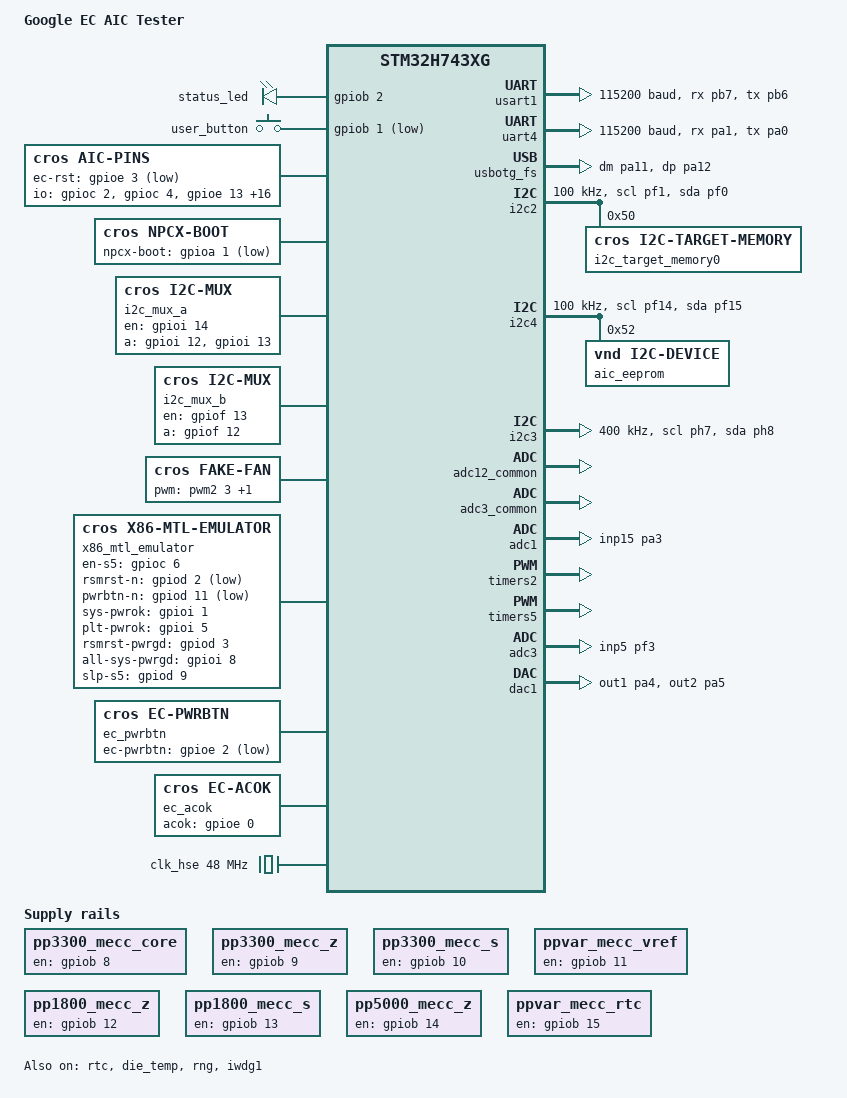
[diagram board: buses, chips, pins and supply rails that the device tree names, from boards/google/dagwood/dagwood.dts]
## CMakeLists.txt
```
# Copyright 2024 The ChromiumOS Authors
# Use of this source code is governed by a BSD-style license that can be
# found in the LICENSE file.

cmake_minimum_required(VERSION 3.20.0)

set(BOARD_ROOT ${CMAKE_CURRENT_LIST_DIR})
set(BOARD dagwood)

find_package(Zephyr REQUIRED HINTS $ENV{ZEPHYR_BASE} ${ZEPHYR_BASE})
project(dagwood)

if(NOT DEFINED PLATFORM_EC)
	if(DEFINED ENV{PLATFORM_EC})
		set(PLATFORM_EC "$ENV{PLATFORM_EC}")
	else()
		set(PLATFORM_EC "${CMAKE_CURRENT_SOURCE_DIR}/../../ec")
	endif()
endif()

separate_arguments(EXTRA_EC_VERSION_FLAGS_LIST UNIX_COMMAND
		   ${EXTRA_EC_VERSION_FLAGS})

# The version script takes the git revision of its working directory. Run it
# in this repository, so the version names the Dagwood commit, not the EC one.
execute_process(
	COMMAND ${CMAKE_COMMAND} -E env PYTHONPATH=${PLATFORM_EC}/zephyr/zmake/
		${PYTHON_EXECUTABLE}
		"${PLATFORM_EC}/zephyr/zmake/zephyr_build_tools/generate_ec_version.py"
		"-"
		"--name" "dagwood"
		${EXTRA_EC_VERSION_FLAGS_LIST}
	WORKING_DIRECTORY ${CMAKE_CURRENT_SOURCE_DIR}
	OUTPUT_VARIABLE DW_VERSION
	OUTPUT_STRIP_TRAILING_WHITESPACE
	ERROR_QUIET
)

if(NOT DW_VERSION)
	set(DW_VERSION "dagwood-unknown")
endif()

configure_file(
	${CMAKE_CURRENT_SOURCE_DIR}/src/version.h.in
	${ZEPHYR_BINARY_DIR}/include/generated/dagwood/version.h
	@ONLY
)

zephyr_include_directories(include)

target_sources(app PRIVATE
	src/ec.c
	src/main.c
	src/reboot.c
	src/uart_select.c
	src/usbd.c
	src/version.c
)

target_sources_ifdef(CONFIG_DT_HAS_CROS_NPCX_BOOT_ENABLED app PRIVATE src/npcx_boot.c)
target_sources_ifdef(CONFIG_DT_HAS_CROS_I2C_TARGET_MEMORY_ENABLED app PRIVATE src/i2c_target.c)
target_sources_ifdef(CONFIG_DT_HAS_CROS_I2C_MUX_ENABLED app PRIVATE src/i2c_mux.c)
target_sources_ifdef(CONFIG_DT_HAS_CROS_FAKE_FAN_ENABLED app PRIVATE src/fake_fan.c)

add_subdirectory(src/emul_ap_pwrseq)

zephyr_linker_sources(ROM_SECTIONS src/usb_request.ld)
```

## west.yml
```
# Copyright 2024 The ChromiumOS Authors
# Use of this source code is governed by a BSD-style license that can be
# found in the LICENSE file.

manifest:
  remotes:
    - name: chromium
      url-base: https://chromium.googlesource.com/chromiumos

  projects:
    - name: zephyr
      remote: chromium
      repo-path: third_party/zephyr
      revision: main
      west-commands: scripts/west-commands.yml

    - name: cmsis
      remote: chromium
      repo-path: third_party/zephyr/cmsis
      revision: chromeos-main
      path: modules/hal/cmsis

    - name: hal_stm32
      remote: chromium
      repo-path: third_party/zephyr/hal_stm32
      revision: chromeos-main
      path: modules/hal/stm32
```

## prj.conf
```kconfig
# Copyright 2024 The ChromiumOS Authors
# Use of this source code is governed by a BSD-style license that can be
# found in the LICENSE file.

CONFIG_PM_DEVICE=y
CONFIG_PM_DEVICE_RUNTIME=y
CONFIG_PM_DEVICE_SHELL=y

# TODO(b/395151088): picolibc build causes a macro redefinition on some source
# files between include/zephyr/posix/posix_features.h and
# picolibc/coreboot-arm-eabi/include/sys/syslimits.h when using the chroot
# coreboot toolchain, use minimal libc until that's resolved.
CONFIG_MINIMAL_LIBC=y

CONFIG_GPIO=y
CONFIG_LOG=y
CONFIG_LOG_PROCESS_THREAD_SLEEP_MS=100
CONFIG_DEBUG_THREAD_INFO=y
CONFIG_COMPILER_TRACK_MACRO_EXPANSION=n
CONFIG_APPLICATION_DEFINED_SYSCALL=y

# USB
CONFIG_USB_DEVICE_STACK=n
CONFIG_USB_DEVICE_STACK_NEXT=y
CONFIG_USBD_CDC_ACM_CLASS=y
CONFIG_UART_LINE_CTRL=y
CONFIG_UDC_DRIVER_LOG_LEVEL_WRN=y
CONFIG_USBD_CDC_ACM_LOG_LEVEL_OFF=y
CONFIG_USBD_LOG_LEVEL_WRN=y

# I2C
CONFIG_I2C_TARGET=y

# Subsystems
CONFIG_SHELL=y
CONFIG_I2C=y
CONFIG_LED=y
CONFIG_PWM=y
CONFIG_PWM_CAPTURE=y
CONFIG_INPUT=y
CONFIG_REGULATOR=y
CONFIG_DAC=y
CONFIG_REBOOT=y

# Shell commands
CONFIG_GPIO_SHELL=y
CONFIG_I2C_SHELL=y
CONFIG_LED_SHELL=y
CONFIG_PWM_SHELL=y
CONFIG_REGULATOR_SHELL=y
CONFIG_DAC_SHELL=y
CONFIG_INPUT_SHELL=y
CONFIG_INPUT_EVENT_DUMP=y

CONFIG_SHELL_PROMPT_UART="dagwood:~$ "
```

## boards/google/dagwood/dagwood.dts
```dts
/* Copyright 2024 The ChromiumOS Authors
 * Use of this source code is governed by a BSD-style license that can be
 * found in the LICENSE file.
 */

/dts-v1/;
#include <st/h7/stm32h743Xg.dtsi>
#include <st/h7/stm32h743bgtx-pinctrl.dtsi>
#include <zephyr/dt-bindings/input/input-event-codes.h>

/ {
	model = "Google EC AIC Tester";
	compatible = "google,dagwood";

	chosen {
		/* change to &usart1 to move the shell to J3/J4 */
		zephyr,console = &cdc_acm_uart_shell;
		zephyr,shell-uart = &cdc_acm_uart_shell;
		zephyr,sram = &sram0;
		zephyr,flash = &flash0;
		zephyr,dtcm = &dtcm;
	};

	leds {
		compatible = "gpio-leds";
		status_led: mcu_pb02 {
			gpios = <&gpiob 2 GPIO_ACTIVE_HIGH>;
		};
	};

	gpio_keys: gpio-keys {
		compatible = "gpio-keys";
		debounce-interval-ms = <3>;

		user_button: mcu_pb01 {
			gpios = <&gpiob 1 GPIO_ACTIVE_LOW>;
			zephyr,code = <INPUT_KEY_0>;
		};
	};

	aliases {
		led0 = &status_led;
		sw0 = &user_button;
		watchdog0 = &iwdg;
		die-temp0 = &die_temp;
	};

	uart_bridge: uart-bridge {
		compatible = "zephyr,uart-bridge";
		zephyr,pm-device-runtime-auto;
		peers = <&cdc_acm_uart_ec &uart4>;
	};

	uart_bridge_alt: uart-bridge-alt {
		compatible = "zephyr,uart-bridge";
		zephyr,pm-device-runtime-auto;
		peers = <&cdc_acm_uart_ec_alt &uart4>;
	};

	pp3300_mecc_core: pp3300_mecc_core {
		compatible = "regulator-fixed";
		regulator-name = "pp3300_mecc_core";
		enable-gpios = <&gpiob 8 GPIO_ACTIVE_HIGH>;
	};

	pp3300_mecc_z: pp3300_mecc_z {
		compatible = "regulator-fixed";
		regulator-name = "pp3300_mecc_z";
		enable-gpios = <&gpiob 9 GPIO_ACTIVE_HIGH>;
	};

	pp3300_mecc_s: pp3300_mecc_s {
		compatible = "regulator-fixed";
		regulator-name = "pp3300_mecc_s";
		enable-gpios = <&gpiob 10 GPIO_ACTIVE_HIGH>;
	};

	ppvar_mecc_vref: ppvar_mecc_vref {
		compatible = "regulator-fixed";
		regulator-name = "ppvar_mecc_vref";
		enable-gpios = <&gpiob 11 GPIO_ACTIVE_HIGH>;
	};

	pp1800_mecc_z: pp1800_mecc_z {
		compatible = "regulator-fixed";
		regulator-name = "pp1800_mecc_z";
		enable-gpios = <&gpiob 12 GPIO_ACTIVE_HIGH>;
	};

	pp1800_mecc_s: pp1800_mecc_s {
		compatible = "regulator-fixed";
		regulator-name = "pp1800_mecc_s";
		enable-gpios = <&gpiob 13 GPIO_ACTIVE_HIGH>;
	};

	pp5000_mecc_z: pp5000_mecc_z {
		compatible = "regulator-fixed";
		regulator-name = "pp5000_mecc_z";
		enable-gpios = <&gpiob 14 GPIO_ACTIVE_HIGH>;
	};

	ppvar_mecc_rtc: ppvar_mecc_rtc {
		compatible = "regulator-fixed";
		regulator-name = "ppvar_mecc_rtc";
		enable-gpios = <&gpiob 15 GPIO_ACTIVE_HIGH>;
	};

	aic-pins {
		compatible = "cros,aic-pins";
		ec-rst-gpios = <&gpioe 3 GPIO_ACTIVE_LOW>;
		io-gpios = <&gpioc 2 GPIO_ACTIVE_HIGH>, /* CCD_MODE_L */
			   <&gpioc 4 GPIO_ACTIVE_HIGH>, /* EN_PP5000_FAN */
			   <&gpioe 13 GPIO_ACTIVE_HIGH>, /* I2C_MECC_PDC4_INT_L */

			   /* TODO: figure out why some signals are not getting
			    * through on the NPCX AIC board
			    */

			   /* KSI */
			   /* <&gpiok 0 GPIO_ACTIVE_HIGH>, */ /* MCU_OUT_KBD_SCANIN_A_ODL */
			   <&gpiok 1 GPIO_ACTIVE_HIGH>, /* MCU_OUT_KBD_SCANIN_B_ODL */
			   <&gpiok 2 GPIO_ACTIVE_HIGH>, /* MCU_OUT_KBD_SCANIN_C_ODL */
			   /* <&gpiok 3 GPIO_ACTIVE_HIGH>, */ /* MCU_OUT_KBD_SCANIN_D_ODL */
			   <&gpiok 4 GPIO_ACTIVE_HIGH>, /* MCU_OUT_KBD_SCANIN_E_ODL */
			   <&gpiok 5 GPIO_ACTIVE_HIGH>, /* MCU_OUT_KBD_SCANIN_F_ODL */
			   <&gpiok 6 GPIO_ACTIVE_HIGH>, /* MCU_OUT_KBD_SCANIN_G_ODL */
			   <&gpiok 7 GPIO_ACTIVE_HIGH>, /* MCU_OUT_KBD_SCANIN_H_ODL */

			   /* KSO */
			   /* <&gpioj 0 GPIO_ACTIVE_HIGH>, */ /* MCU_IN_KBD_SCANOUT_A */
			   /* <&gpioj 1 GPIO_ACTIVE_HIGH>, */ /* MCU_IN_KBD_SCANOUT_B */
			   <&gpioj 2 GPIO_ACTIVE_HIGH>, /* MCU_IN_KBD_SCANOUT_C */
			   <&gpioj 3 GPIO_ACTIVE_HIGH>, /* MCU_IN_KBD_SCANOUT_D */
			   <&gpioj 4 GPIO_ACTIVE_HIGH>, /* MCU_IN_KBD_SCANOUT_E */
			   <&gpioj 5 GPIO_ACTIVE_HIGH>, /* MCU_IN_KBD_SCANOUT_F */
			   /* <&gpioj 6 GPIO_ACTIVE_HIGH>, */ /* MCU_IN_KBD_SCANOUT_G */
			   /* <&gpioj 7 GPIO_ACTIVE_HIGH>, */ /* MCU_IN_KBD_SCANOUT_H */
			   /* <&gpioj 8 GPIO_ACTIVE_HIGH>, */ /* MCU_IN_KBD_SCANOUT_J */
			   /* <&gpioj 9 GPIO_ACTIVE_HIGH>, */ /* MCU_IN_KBD_SCANOUT_K */
			   <&gpioj 10 GPIO_ACTIVE_HIGH>, /* MCU_IN_KBD_SCANOUT_L */
			   <&gpioj 11 GPIO_ACTIVE_HIGH>, /* MCU_IN_KBD_SCANOUT_M */
			   <&gpioj 12 GPIO_ACTIVE_HIGH>, /* MCU_IN_KBD_SCANOUT_N */
			   <&gpioj 13 GPIO_ACTIVE_HIGH>, /* MCU_IN_KBD_SCANOUT_P */
			   <&gpioj 14 GPIO_ACTIVE_HIGH>, /* MCU_IN_KBD_SCANOUT_Q */
			   <&gpioj 15 GPIO_ACTIVE_HIGH>; /* MCU_IN_KBD_SCANOUT_R */
			   /* <&gpioh 3 GPIO_ACTIVE_HIGH>, */ /* MCU_IN_KBD_SCANOUT_S */
			   /* <&gpioj 4 GPIO_ACTIVE_HIGH>; */ /* MCU_IN_KBD_SCANOUT_T */
	};

	npcx-boot {
		compatible = "cros,npcx-boot";
		npcx-boot-gpios = <&gpioa 1 GPIO_ACTIVE_LOW>;
		pinctrl-0 = <&pa1_gpio>;
		pinctrl-1 = <&uart4_rx_pa1>;
		pinctrl-names = "gpio", "default";
	};

	i2c_mux_a: i2c-mux-a {
		compatible = "cros,i2c-mux";
		en-gpios = <&gpioi 14 GPIO_ACTIVE_HIGH>;
		a-gpios = <&gpioi 12 GPIO_ACTIVE_HIGH>,
			  <&gpioi 13 GPIO_ACTIVE_HIGH>;
		port-count = <4>;
	};

	i2c_mux_b: i2c-mux-b {
		compatible = "cros,i2c-mux";
		en-gpios = <&gpiof 13 GPIO_ACTIVE_HIGH>;
		a-gpios = <&gpiof 12 GPIO_ACTIVE_HIGH>;
		port-count = <2>;
	};

	fake-fan {
		compatible = "cros,fake-fan";
		pwms = <&pwm2 3 0 PWM_POLARITY_NORMAL>, /* input, pwm control from aic */
		       <&pwm5 4 0 PWM_POLARITY_NORMAL>; /* output, fake tach signal to the aic */
	};

	x86_mtl_emulator: x86-mtl-emulator {
		compatible = "cros,x86-mtl-emulator";
		/* MECC Pin 55 (MECC_EN_S5_RAILS) -> PC06 */
		en-s5-gpios = <&gpioc 6 GPIO_ACTIVE_HIGH>;
		rsmrst-n-gpios = <&gpiod 2 GPIO_ACTIVE_LOW>;
		pwrbtn-n-gpios = <&gpiod 11 GPIO_ACTIVE_LOW>;
		sys-pwrok-gpios = <&gpioi 1 GPIO_ACTIVE_HIGH>;
		/*
		 * TODO(b/580052406): Canonical MECC Pin 30 (MECC_PLT_PWROK, PI00)
		 * is stuck high on rtk-aic + Dagwood hardware. Route PLT_PWROK
		 * via MECC Pin 145 (MECC_EC_PP5000_USBA, PI05) until resolved.
		 */
		plt-pwrok-gpios = <&gpioi 5 GPIO_ACTIVE_HIGH>;

		rsmrst-pwrgd-gpios = <&gpiod 3 GPIO_ACTIVE_HIGH>;
		all-sys-pwrgd-gpios = <&gpioi 8 GPIO_ACTIVE_HIGH>;
		slp-s5-gpios = <&gpiod 9 GPIO_ACTIVE_HIGH>;
		slp-s4-gpios = <&gpiod 8 GPIO_ACTIVE_HIGH>;
		slp-s3-gpios = <&gpiod 7 GPIO_ACTIVE_HIGH>;
		slp-s0-gpios = <&gpiod 6 GPIO_ACTIVE_HIGH>;
	};

	ec_pwrbtn: ec-pwrbtn {
		compatible = "cros,ec-pwrbtn";
		ec-pwrbtn-gpios = <&gpioe 2 GPIO_ACTIVE_LOW>;
	};

	ec_acok: ec-acok {
		compatible = "cros,ec-acok";
		acok-gpios = <&gpioe 0 GPIO_ACTIVE_HIGH>;
	};
};

&pinctrl {
	pa1_gpio: pa1_gpio {
		pinmux = <STM32_PINMUX('A', 1, GPIO)>;
	};
};

&clk_lsi {
	status = "okay";
};

&clk_hsi48 {
	status = "okay";
};

&clk_hse {
	clock-frequency = <DT_FREQ_M(48)>;
	status = "okay";
};

&pll {
	div-m = <12>;
	mul-n = <240>;
	div-p = <2>;
	div-q = <2>;
	div-r = <2>;
	clocks = <&clk_hse>;
	status = "okay";
};

&pll2 {
	div-m = <24>;
	mul-n = <120>;
	div-p = <2>;
	div-q = <3>;
	div-r = <2>;
	clocks = <&clk_hse>;
	status = "okay";
};

&rcc {
	clocks = <&pll>;
	clock-frequency = <DT_FREQ_M(480)>;
	d1cpre = <1>;
	hpre = <2>;
	d1ppre = <2>;
	d2ppre1 = <2>;
	d2ppre2 = <2>;
	d3ppre = <2>;
};

&pwr {
	power-supply = "ldo";
};

/* Debug UART, J3/J4 */
&usart1 {
	pinctrl-0 = <&usart1_rx_pb7 &usart1_tx_pb6>;
	pinctrl-names = "default";
	current-speed = <115200>;
	status = "okay";
};

/* EC UART */
&uart4 {
	pinctrl-0 = <&uart4_rx_pa1 &uart4_tx_pa0>;
	pinctrl-names = "default";
	current-speed = <115200>;
	status = "okay";
};

zephyr_udc0: &usbotg_fs {
	pinctrl-0 = <&usb_otg_fs_dm_pa11 &usb_otg_fs_dp_pa12>;
	pinctrl-names = "default";
	status = "okay";

	cdc_acm_uart_shell: cdc_acm_uart_shell {
		compatible = "zephyr,cdc-acm-uart";
		label = "Dagwood shell";
	};
	cdc_acm_uart_ec: cdc_acm_uart_ec {
		compatible = "zephyr,cdc-acm-uart";
		label = "EC shell";
	};
	cdc_acm_uart_ec_alt: cdc_acm_uart_ec_alt {
		compatible = "zephyr,cdc-acm-uart";
		label = "EC UART programming";
	};
};

&rtc {
	clocks = <&rcc STM32_CLOCK_BUS_APB4 0x00010000>,
		 <&rcc STM32_SRC_LSI RTC_SEL(2)>;
	status = "okay";
};

/* target interface, connected to the U9 mux */
&i2c2 {
	pinctrl-0 = <&i2c2_scl_pf1 &i2c2_sda_pf0>;
	pinctrl-1 = <&analog_pf1 &analog_pf0>;
	pinctrl-names = "default", "sleep";
	status = "okay";
	clock-frequency = <I2C_BITRATE_STANDARD>;
	label = "i2c2";

	/* Lower the interrupt priority of I2C so that the UART bridge
	 * can preempt the I2C target mode handling.
	 */
	interrupts = <33 5>, <34 5>;

	i2c_target_memory0: i2c-target-memory@50 {
		reg = <0x50>;
		size = <256>;
		compatible = "cros,i2c-target-memory";
		status = "okay";
	};
};

/* target interface, connected to the U11 mux */
&i2c4 {
	pinctrl-0 = <&i2c4_scl_pf14 &i2c4_sda_pf15>;
	pinctrl-1 = <&analog_pf14 &analog_pf15>;
	pinctrl-names = "default", "sleep";
	status = "okay";
	clock-frequency = <I2C_BITRATE_STANDARD>;
	label = "i2c4";

	aic_eeprom: eeprom@52 {
		reg = <0x52>;
		compatible = "vnd,i2c-device";
		status = "okay";
	};
};

/* connected to J5, QWIIC port */
zephyr_i2c: &i2c3 {
	pinctrl-0 = <&i2c3_scl_ph7 &i2c3_sda_ph8>;
	pinctrl-1 = <&analog_ph7 &analog_ph8>;
	pinctrl-names = "default", "sleep";
	status = "okay";
	clock-frequency = <I2C_BITRATE_FAST>;
	label = "i2c3";
};

&adc12_common {
	st,adc-clock-source = "SYNC";
	st,adc-prescaler = <4>;
	status = "okay";
};

&adc3_common {
	st,adc-clock-source = "SYNC";
	st,adc-prescaler = <4>;
	status = "okay";
};

&adc1 {
	pinctrl-0 = <&adc1_inp15_pa3>;
	pinctrl-names = "default";
	status = "okay";
};

&die_temp {
	status = "okay";
};

&timers2 {
	st,prescaler = <1>;
	status = "okay";

	pwm2: pwm {
		status = "okay";
		pinctrl-0 = <&tim2_ch3_pa2>;
		pinctrl-names = "default";
		four-channel-capture-support;
	};
};

&timers5 {
	st,prescaler = <150>;
	status = "okay";

	pwm5: pwm {
		status = "okay";
		pinctrl-0 = <&tim5_ch4_pa3>;
		pinctrl-names = "default";
	};
};

&adc3 {
	pinctrl-0 = <&adc3_inp5_pf3>;
	pinctrl-names = "default";
	status = "okay";
};

&dac1 {
	status = "okay";
	pinctrl-0 = <&dac1_out1_pa4 &dac1_out2_pa5>;
	pinctrl-names = "default";
};

&rng {
	status = "okay";
};

&backup_sram {
	status = "okay";
};

&iwdg1 {
	status = "okay";
};
```

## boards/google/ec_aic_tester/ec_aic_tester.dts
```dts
/* Copyright 2024 The ChromiumOS Authors
 * Use of this source code is governed by a BSD-style license that can be
 * found in the LICENSE file.
 */

/dts-v1/;
#include <st/h7/stm32h743Xg.dtsi>
#include <st/h7/stm32h743bgtx-pinctrl.dtsi>
#include <zephyr/dt-bindings/input/input-event-codes.h>

/ {
	model = "Google EC AIC Tester";
	compatible = "google,ec-aic-tester";

	chosen {
		/* change to &usart1 to move the shell to J3/J4 */
		zephyr,console = &cdc_acm_uart_shell;
		zephyr,shell-uart = &cdc_acm_uart_shell;
		zephyr,sram = &sram0;
		zephyr,flash = &flash0;
		zephyr,dtcm = &dtcm;
	};

	leds {
		compatible = "gpio-leds";
		status_led: mcu_pb02 {
			gpios = <&gpiob 2 GPIO_ACTIVE_HIGH>;
		};
	};

	gpio_keys: gpio-keys {
		compatible = "gpio-keys";
		user_button: mcu_pb01 {
			gpios = <&gpiob 1 GPIO_ACTIVE_LOW>;
			zephyr,code = <INPUT_KEY_0>;
		};
	};

	aliases {
		led0 = &status_led;
		sw0 = &user_button;
		watchdog0 = &iwdg;
		die-temp0 = &die_temp;
	};

	uart_bridge: uart-bridge {
		compatible = "zephyr,uart-bridge";
		usb {
			device = <&cdc_acm_uart_ec>;
			transfer-size = <64>;
		};
		uart {
			device = <&uart4>;
			transfer-size = <1>;
		};
	};

	pp3300_mecc_core: pp3300_mecc_core {
		compatible = "regulator-fixed";
		regulator-name = "pp3300_mecc_core";
		enable-gpios = <&gpiob 8 GPIO_ACTIVE_HIGH>;
	};

	pp3300_mecc_z: pp3300_mecc_z {
		compatible = "regulator-fixed";
		regulator-name = "pp3300_mecc_z";
		enable-gpios = <&gpiob 9 GPIO_ACTIVE_HIGH>;
	};

	pp3300_mecc_s: pp3300_mecc_s {
		compatible = "regulator-fixed";
		regulator-name = "pp3300_mecc_s";
		enable-gpios = <&gpiob 10 GPIO_ACTIVE_HIGH>;
	};

	ppvar_mecc_vref: ppvar_mecc_vref {
		compatible = "regulator-fixed";
		regulator-name = "ppvar_mecc_vref";
		enable-gpios = <&gpiob 11 GPIO_ACTIVE_HIGH>;
	};

	pp1800_mecc_z: pp1800_mecc_z {
		compatible = "regulator-fixed";
		regulator-name = "pp1800_mecc_z";
		enable-gpios = <&gpiob 12 GPIO_ACTIVE_HIGH>;
	};

	pp1800_mecc_s: pp1800_mecc_s {
		compatible = "regulator-fixed";
		regulator-name = "pp1800_mecc_s";
		enable-gpios = <&gpiob 13 GPIO_ACTIVE_HIGH>;
	};

	pp5000_mecc_z: pp5000_mecc_z {
		compatible = "regulator-fixed";
		regulator-name = "pp5000_mecc_z";
		enable-gpios = <&gpiob 14 GPIO_ACTIVE_HIGH>;
	};

	ppvar_mecc_rtc: ppvar_mecc_rtc {
		compatible = "regulator-fixed";
		regulator-name = "ppvar_mecc_rtc";
		enable-gpios = <&gpiob 15 GPIO_ACTIVE_HIGH>;
	};

	aic-pins {
		compatible = "cros,aic-pins";
		ec-rst-gpios = <&gpioe 3 GPIO_ACTIVE_LOW>;
		io-gpios = <&gpioc 2 GPIO_ACTIVE_HIGH>, /* CCD_MODE_L */
			   <&gpioc 4 GPIO_ACTIVE_HIGH>, /* EN_PP5000_FAN */
			   <&gpioe 13 GPIO_ACTIVE_HIGH>, /* I2C_MECC_PDC4_INT_L */

			   /* TODO: figure out why some signals are not getting
			    * through on the NPCX AIC board
			    */

			   /* KSI */
			   /* <&gpiok 0 GPIO_ACTIVE_HIGH>, */ /* MCU_OUT_KBD_SCANIN_A_ODL */
			   <&gpiok 1 GPIO_ACTIVE_HIGH>, /* MCU_OUT_KBD_SCANIN_B_ODL */
			   <&gpiok 2 GPIO_ACTIVE_HIGH>, /* MCU_OUT_KBD_SCANIN_C_ODL */
			   /* <&gpiok 3 GPIO_ACTIVE_HIGH>, */ /* MCU_OUT_KBD_SCANIN_D_ODL */
			   <&gpiok 4 GPIO_ACTIVE_HIGH>, /* MCU_OUT_KBD_SCANIN_E_ODL */
			   <&gpiok 5 GPIO_ACTIVE_HIGH>, /* MCU_OUT_KBD_SCANIN_F_ODL */
			   <&gpiok 6 GPIO_ACTIVE_HIGH>, /* MCU_OUT_KBD_SCANIN_G_ODL */
			   <&gpiok 7 GPIO_ACTIVE_HIGH>, /* MCU_OUT_KBD_SCANIN_H_ODL */

			   /* KSO */
			   /* <&gpioj 0 GPIO_ACTIVE_HIGH>, */ /* MCU_IN_KBD_SCANOUT_A */
			   /* <&gpioj 1 GPIO_ACTIVE_HIGH>, */ /* MCU_IN_KBD_SCANOUT_B */
			   <&gpioj 2 GPIO_ACTIVE_HIGH>, /* MCU_IN_KBD_SCANOUT_C */
			   <&gpioj 3 GPIO_ACTIVE_HIGH>, /* MCU_IN_KBD_SCANOUT_D */
			   <&gpioj 4 GPIO_ACTIVE_HIGH>, /* MCU_IN_KBD_SCANOUT_E */
			   <&gpioj 5 GPIO_ACTIVE_HIGH>, /* MCU_IN_KBD_SCANOUT_F */
			   /* <&gpioj 6 GPIO_ACTIVE_HIGH>, */ /* MCU_IN_KBD_SCANOUT_G */
			   /* <&gpioj 7 GPIO_ACTIVE_HIGH>, */ /* MCU_IN_KBD_SCANOUT_H */
			   /* <&gpioj 8 GPIO_ACTIVE_HIGH>, */ /* MCU_IN_KBD_SCANOUT_J */
			   /* <&gpioj 9 GPIO_ACTIVE_HIGH>, */ /* MCU_IN_KBD_SCANOUT_K */
			   <&gpioj 10 GPIO_ACTIVE_HIGH>, /* MCU_IN_KBD_SCANOUT_L */
			   <&gpioj 11 GPIO_ACTIVE_HIGH>, /* MCU_IN_KBD_SCANOUT_M */
			   <&gpioj 12 GPIO_ACTIVE_HIGH>, /* MCU_IN_KBD_SCANOUT_N */
			   <&gpioj 13 GPIO_ACTIVE_HIGH>, /* MCU_IN_KBD_SCANOUT_P */
			   <&gpioj 14 GPIO_ACTIVE_HIGH>, /* MCU_IN_KBD_SCANOUT_Q */
			   <&gpioj 15 GPIO_ACTIVE_HIGH>; /* MCU_IN_KBD_SCANOUT_R */
			   /* <&gpioh 3 GPIO_ACTIVE_HIGH>, */ /* MCU_IN_KBD_SCANOUT_S */
			   /* <&gpioj 4 GPIO_ACTIVE_HIGH>; */ /* MCU_IN_KBD_SCANOUT_T */
	};

	npcx-boot {
		compatible = "cros,npcx-boot";
		npcx-boot-gpios = <&gpioa 1 GPIO_ACTIVE_LOW>;
		pinctrl-0 = <&pa1_gpio>;
		pinctrl-1 = <&uart4_rx_pa1>;
		pinctrl-names = "gpio", "default";
	};

	i2c-mux-a {
		compatible = "cros,i2c-mux";
		en-gpios = <&gpioi 14 GPIO_ACTIVE_HIGH>;
		a-gpios = <&gpioi 12 GPIO_ACTIVE_HIGH>,
			  <&gpioi 13 GPIO_ACTIVE_HIGH>;
		port-count = <4>;
	};

	i2c-mux-b {
		compatible = "cros,i2c-mux";
		en-gpios = <&gpiof 13 GPIO_ACTIVE_HIGH>;
		a-gpios = <&gpiof 12 GPIO_ACTIVE_HIGH>;
		port-count = <2>;
	};
};

&pinctrl {
	pa1_gpio: pa1_gpio {
		pinmux = <STM32_PINMUX('A', 1, GPIO)>;
	};
};

&clk_lsi {
	status = "okay";
};

&clk_hsi48 {
	status = "okay";
};

&clk_hse {
	clock-frequency = <DT_FREQ_M(48)>;
	status = "okay";
};

&pll {
	div-m = <12>;
	mul-n = <240>;
	div-p = <2>;
	div-q = <2>;
	div-r = <2>;
	clocks = <&clk_hse>;
	status = "okay";
};

&pll2 {
	div-m = <24>;
	mul-n = <120>;
	div-p = <2>;
	div-q = <3>;
	div-r = <2>;
	clocks = <&clk_hse>;
	status = "okay";
};

&rcc {
	clocks = <&pll>;
	clock-frequency = <DT_FREQ_M(480)>;
	d1cpre = <1>;
	hpre = <2>;
	d1ppre = <2>;
	d2ppre1 = <2>;
	d2ppre2 = <2>;
	d3ppre = <2>;
};

/* Debug UART, J3/J4 */
&usart1 {
	pinctrl-0 = <&usart1_rx_pb7 &usart1_tx_pb6>;
	pinctrl-names = "default";
	current-speed = <115200>;
	status = "okay";
};

/* EC UART */
&uart4 {
	pinctrl-0 = <&uart4_rx_pa1 &uart4_tx_pa0>;
	pinctrl-names = "default";
	current-speed = <115200>;
	status = "okay";
};

zephyr_udc0: &usbotg_fs {
	pinctrl-0 = <&usb_otg_fs_dm_pa11 &usb_otg_fs_dp_pa12>;
	pinctrl-names = "default";
	status = "okay";

	cdc_acm_uart_shell: cdc_acm_uart_shell {
		compatible = "zephyr,cdc-acm-uart";
	};
	cdc_acm_uart_ec: cdc_acm_uart_ec {
		compatible = "zephyr,cdc-acm-uart";
	};
};

&rtc {
	clocks = <&rcc STM32_CLOCK_BUS_APB4 0x00010000>,
		 <&rcc STM32_SRC_LSI RTC_SEL(2)>;
	status = "okay";
};

/* target interface, connected to the U9 mux */
&i2c2 {
	pinctrl-0 = <&i2c2_scl_pf1 &i2c2_sda_pf0>;
	pinctrl-names = "default";
	status = "okay";
	clock-frequency = <I2C_BITRATE_STANDARD>;

	eeprom0: eeprom@50 {
		reg = <0x50>;
		size = <256>;
		compatible = "zephyr,i2c-target-eeprom";
		status = "okay";
	};
};

/* target interface, connected to the U11 mux */
&i2c4 {
	pinctrl-0 = <&i2c4_scl_pf14 &i2c4_sda_pf15>;
	pinctrl-names = "default";
	status = "okay";
	clock-frequency = <I2C_BITRATE_STANDARD>;

	eeprom1: eeprom@51 {
		reg = <0x51>;
		size = <256>;
		compatible = "zephyr,i2c-target-eeprom";
		status = "okay";
	};
};

/* connected to J5, QWIIC port */
&i2c3 {
	pinctrl-0 = <&i2c3_scl_ph7 &i2c3_sda_ph8>;
	pinctrl-names = "default";
	status = "okay";
	clock-frequency = <I2C_BITRATE_FAST>;
};

&adc1 {
	pinctrl-0 = <&adc1_inp15_pa3>;
	pinctrl-names = "default";
	st,adc-clock-source = "SYNC";
	st,adc-prescaler = <4>;
	status = "okay";
};

&die_temp {
	status = "okay";
};

&adc3 {
	pinctrl-0 = <&adc3_inp5_pf3>;
	pinctrl-names = "default";
	st,adc-clock-source = "SYNC";
	st,adc-prescaler = <4>;
	status = "okay";
};

&dac1 {
	status = "okay";
	pinctrl-0 = <&dac1_out1_pa4 &dac1_out2_pa5>;
	pinctrl-names = "default";
};

&rng {
	status = "okay";
};

&backup_sram {
	status = "okay";
};

&iwdg1 {
	status = "okay";
};
```

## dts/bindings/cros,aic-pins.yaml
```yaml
# Copyright 2025 The ChromiumOS Authors
# Use of this source code is governed by a BSD-style license that can be
# found in the LICENSE file.

description: |
  Various pin definitions for the AIC tester board.

compatible: "cros,aic-pins"

properties:
  ec-rst-gpios:
    type: phandle-array
    required: true
```

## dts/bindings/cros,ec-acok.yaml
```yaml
# Copyright 2026 The ChromiumOS Authors
# Use of this source code is governed by a BSD-style license that can be
# found in the LICENSE file.

description: Dagwood EC ACOK stimulus driver

compatible: "cros,ec-acok"

properties:
  acok-gpios:
    type: phandle-array
    required: true
    description: Output pin to EC AIC for ACOK (MECC_ACOK)
```

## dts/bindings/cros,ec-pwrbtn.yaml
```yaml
# Copyright 2026 The ChromiumOS Authors
# Use of this source code is governed by a BSD-style license that can be
# found in the LICENSE file.

description: |
  EC power button stimulus driver for Dagwood.

compatible: "cros,ec-pwrbtn"

properties:
  ec-pwrbtn-gpios:
    type: phandle-array
    required: true
    description: Stimulus output to EC - EC Power Button (MECC_EC_PWRBTN_L)
```

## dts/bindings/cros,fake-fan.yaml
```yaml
# Copyright 2026 The ChromiumOS Authors
# Use of this source code is governed by a BSD-style license that can be
# found in the LICENSE file.

description: |
  Fake fan node

compatible: "cros,fake-fan"

properties:
  pwms:
    required: true
    type: phandle-array
    description: PWM device for control and tach
    min-len: 2
    max-len: 2
```

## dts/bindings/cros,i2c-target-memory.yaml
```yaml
# Copyright 2026 The ChromiumOS Authors
# Use of this source code is governed by a BSD-style license that can be
# found in the LICENSE file.

description: |
  I2C target memory device with clock stretching test support

compatible: "cros,i2c-target-memory"

include: [i2c-device.yaml]

properties:
  size:
    type: int
    default: 256
    description: Total memory size in bytes
```

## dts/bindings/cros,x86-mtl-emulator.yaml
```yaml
# Copyright 2026 The ChromiumOS Authors
# Use of this source code is governed by a BSD-style license that can be
# found in the LICENSE file.

description: |
  x86 MTL AP power sequence emulator node for Dagwood.
  GPIO pins follow the naming convention from the Intel Platform Design Guide.
  Active low signals use the "-n" and "_n" suffix instead of "#".

compatible: "cros,x86-mtl-emulator"

properties:
  # Power signals provided to/from the platform
  en-s5-gpios:
    type: phandle-array
    description: |
      Input to platform from EC - 5V S5 / Rail enable (MECC_EN_PP5000_S5).

  rsmrst-n-gpios:
    type: phandle-array
    description: |
      Input to MTL from EC - Primary reset (MECC_RSMRST_L)

  pwrbtn-n-gpios:
    type: phandle-array
    description: |
      Input to MTL from EC - SoC power button (MECC_SOC_PWRBTN_L)

  sys-pwrok-gpios:
    type: phandle-array
    description: |
      Input to MTL from EC - System Power OK (MECC_SYS_PWROK)

  plt-pwrok-gpios:
    type: phandle-array
    description: |
      Input to MTL from EC - PCH Power OK (MECC_PLT_PWROK)

  rsmrst-pwrgd-gpios:
    type: phandle-array
    description: |
      Platform signal, output to EC - RSMRST Power Good (MECC_RSMRST_PWRGD_L)

  all-sys-pwrgd-gpios:
    type: phandle-array
    description: |
      Platform signal, output to EC - All System Power Good (MECC_ALL_SYS_PWRGD)

  slp-s5-gpios:
    type: phandle-array
    description: |
      MTL output to EC - Sleep S5 (MECC_SLP_S5_L)

  slp-s4-gpios:
    type: phandle-array
    description: |
      MTL output to EC - Sleep S4 (MECC_SLP_S4_L)

  slp-s3-gpios:
    type: phandle-array
    description: |
      MTL output to EC - Sleep S3 (MECC_SLP_S3_L)

  slp-s0-gpios:
    type: phandle-array
    description: |
      MTL output to EC - Sleep S0 (MECC_SLP_S0_L)
```

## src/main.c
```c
/* Copyright 2024 The ChromiumOS Authors
 * Use of this source code is governed by a BSD-style license that can be
 * found in the LICENSE file.
 */

#include "usb_request.h"

#include <zephyr/drivers/led.h>
#include <zephyr/kernel.h>
#include <zephyr/logging/log.h>
#include <zephyr/pm/device_runtime.h>
#include <zephyr/shell/shell.h>

LOG_MODULE_REGISTER(main, LOG_LEVEL_INF);

/* STM32H743 System Memory ROM bootloader ID address (AN2606) */
#define ROM_BOOTLOADER_VERSION_ADDR 0x1ff1e7feU

const struct led_dt_spec status_led = LED_DT_SPEC_GET(DT_NODELABEL(status_led));

static bool identify;
static struct k_work_delayable identify_work;

static void identify_timeout(struct k_work *work)
{
	identify = false;
}

static void identify_cb(uint16_t index, uint16_t value, const uint8_t *buf,
			size_t size)
{
	if (index != USB_REQ_IDENTIFY) {
		return;
	}

	LOG_INF("usb identify");

	identify = true;
	k_work_reschedule(&identify_work, K_SECONDS(5));
}

USB_REQUEST_CALLBACK_DEFINE(identify_cb, NULL);

static void print_rom_bootloader_version(void)
{
	uint8_t rom_ver = *(const uint8_t *)ROM_BOOTLOADER_VERSION_ADDR;
	uint8_t major = rom_ver >> 4;
	uint8_t minor = rom_ver & 0x0f;

	LOG_INF("ROM bootloader version: 0x%02x (v%u.%u)", rom_ver, major,
		minor);
}

int main(void)
{
	int ret;

	k_work_init_delayable(&identify_work, identify_timeout);

	ret = pm_device_runtime_get(DEVICE_DT_GET(DT_NODELABEL(gpio_keys)));
	if (ret < 0) {
		LOG_ERR("pm_device_runtime_get error: %d", ret);
		return ret;
	}

	LOG_INF("started");

	print_rom_bootloader_version();

	while (true) {
		led_on_dt(&status_led);
		k_sleep(K_MSEC(identify ? 100 : 1000));
		led_off_dt(&status_led);
		k_sleep(K_MSEC(identify ? 100 : 1000));
	}
}

/* JLink seems to have issues flashing a board when it boots cleanly from
 * power-on and has never been flashed, holding the reset button by hand while
 * running "west flash" seems to temporarily fix the problem, the JLink does
 * reset the MCU while connecting so this seems some race condition in the CPU
 * boot process.
 *
 * Adding a short delay after sys_clock_driver_init(), which runs in
 * PRE_KERNEL_2 seems to work around the problem.
 */
static int jlink_helper_hack(void)
{
	k_busy_wait(100 * USEC_PER_MSEC);

	return 0;
}

SYS_INIT(jlink_helper_hack, PRE_KERNEL_2, 99);
```

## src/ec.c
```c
/* Copyright 2025 The ChromiumOS Authors
 * Use of this source code is governed by a BSD-style license that can be
 * found in the LICENSE file.
 */

#define DT_DRV_COMPAT cros_aic_pins

#include "ec.h"
#include "usb_request.h"

#include <zephyr/drivers/gpio.h>
#include <zephyr/drivers/regulator.h>
#include <zephyr/input/input.h>
#include <zephyr/kernel.h>
#include <zephyr/logging/log.h>
#include <zephyr/shell/shell.h>
#include <zephyr/sys/util.h>

LOG_MODULE_REGISTER(ec, LOG_LEVEL_INF);

BUILD_ASSERT(DT_NUM_INST_STATUS_OKAY(DT_DRV_COMPAT) == 1,
	     "only one 'cros,aic-pins' compatible node may be present");

static const struct gpio_dt_spec ec_rst_gpio =
	GPIO_DT_SPEC_INST_GET(0, ec_rst_gpios);

static const struct gpio_dt_spec ec_io_gpio[] = { DT_INST_FOREACH_PROP_ELEM_SEP(
	0, io_gpios, GPIO_DT_SPEC_GET_BY_IDX, (, )) };

static const struct device *reg_pp3300_mecc_core =
	DEVICE_DT_GET(DT_NODELABEL(pp3300_mecc_core));
static const struct device *reg_pp3300_mecc_z =
	DEVICE_DT_GET(DT_NODELABEL(pp3300_mecc_z));
static const struct device *reg_pp3300_mecc_s =
	DEVICE_DT_GET(DT_NODELABEL(pp3300_mecc_s));
static const struct device *reg_ppvar_mecc_vref =
	DEVICE_DT_GET(DT_NODELABEL(ppvar_mecc_vref));
static const struct device *reg_pp1800_mecc_z =
	DEVICE_DT_GET(DT_NODELABEL(pp1800_mecc_z));
static const struct device *reg_pp1800_mecc_s =
	DEVICE_DT_GET(DT_NODELABEL(pp1800_mecc_s));
static const struct device *reg_pp5000_mecc_z =
	DEVICE_DT_GET(DT_NODELABEL(pp5000_mecc_z));
static const struct device *reg_ppvar_mecc_rtc =
	DEVICE_DT_GET(DT_NODELABEL(ppvar_mecc_rtc));

static bool ec_power_enabled;

static void ec_power(bool enable)
{
	if (ec_power_enabled == enable) {
		return;
	}

	if (enable) {
		regulator_enable(reg_pp3300_mecc_core);
		regulator_enable(reg_pp3300_mecc_z);
		regulator_enable(reg_pp3300_mecc_s);
		regulator_enable(reg_ppvar_mecc_vref);
		regulator_enable(reg_pp1800_mecc_z);
		regulator_enable(reg_pp1800_mecc_s);
		regulator_enable(reg_pp5000_mecc_z);
		regulator_enable(reg_ppvar_mecc_rtc);
	} else {
		regulator_disable(reg_ppvar_mecc_rtc);
		regulator_disable(reg_pp5000_mecc_z);
		regulator_disable(reg_pp1800_mecc_s);
		regulator_disable(reg_pp1800_mecc_z);
		regulator_disable(reg_ppvar_mecc_vref);
		regulator_disable(reg_pp3300_mecc_s);
		regulator_disable(reg_pp3300_mecc_z);
		regulator_disable(reg_pp3300_mecc_core);
	}

	ec_power_enabled = enable;
}

static void button_input_cb(struct input_event *evt, void *user_data)
{
	if (evt->type != INPUT_EV_KEY) {
		return;
	}

	if (!evt->value) {
		return;
	}

	switch (evt->code) {
	case INPUT_KEY_0:
		ec_power(!ec_power_enabled);
		break;
	default:
		LOG_WRN("unknown code: %d", evt->code);
	}
}

INPUT_CALLBACK_DEFINE(DEVICE_DT_GET(DT_NODELABEL(gpio_keys)), button_input_cb,
		      NULL);

static int expect_pin(const struct shell *sh, uint8_t i)
{
	/* TODO: make it work with more than 32 pins */
	uint32_t state = 0;
	uint32_t expect = BIT(i);

	for (uint8_t j = 0; j < ARRAY_SIZE(ec_io_gpio); j++) {
		const struct gpio_dt_spec *gpio = &ec_io_gpio[j];
		int val;

		val = gpio_pin_get_dt(gpio);
		if (val) {
			state |= BIT(j);
		}
	}

	if (state != expect) {
		shell_print(sh, "unexpected state (%d) %08x != %08x", i, state,
			    expect);
		return -1;
	}

	shell_info(sh, "match state (%d) %08x", i, state);
	return 0;
}

#define IO_SWEEP_TIMEOUT_MS 5000

static int cmd_io_sweep(const struct shell *sh, size_t argc, char **argv)
{
	uint64_t start_time;
	int ret;

	for (uint8_t i = 0; i < ARRAY_SIZE(ec_io_gpio); i++) {
		const struct gpio_dt_spec *gpio = &ec_io_gpio[i];

		ret = gpio_pin_configure_dt(gpio, GPIO_INPUT);
		if (ret < 0) {
			LOG_ERR("gpio configuration failed: %d", ret);
			return ret;
		}
	}

	start_time = k_uptime_get();
	for (uint8_t i = 0; i < ARRAY_SIZE(ec_io_gpio); i++) {
		while (true) {
			if (k_uptime_get() - start_time > IO_SWEEP_TIMEOUT_MS) {
				goto timeout;
			}

			ret = expect_pin(sh, i);
			if (ret < 0) {
				k_sleep(K_MSEC(100));
				continue;
			}
			break;
		}
	}

	shell_info(sh, "sweep matched all pins successfully");

	return 0;

timeout:
	shell_error(sh, "timeout");

	return -ETIME;
}

void ec_reset(void)
{
	gpio_pin_set_dt(&ec_rst_gpio, 1);

	k_sleep(K_MSEC(100));

	gpio_pin_set_dt(&ec_rst_gpio, 0);
}

static int cmd_ec_reset(const struct shell *sh, size_t argc, char **argv)
{
	ec_reset();

	return 0;
}

static int cmd_ec_power(const struct shell *sh, size_t argc, char **argv)
{
	int err = 0;
	bool on;

	on = shell_strtobool(argv[1], 0, &err);
	if (err) {
		shell_error(sh, "Invalid argument: %s", argv[2]);
		return err;
	}

	ec_power(on);

	return 0;
}

/* clang-format off */
SHELL_STATIC_SUBCMD_SET_CREATE(ec_cmds,
	SHELL_CMD_ARG(io_sweep, NULL, "io_sweep", cmd_io_sweep, 1, 0),
	SHELL_CMD_ARG(power, NULL, "power on|off", cmd_ec_power, 2, 0),
	SHELL_CMD_ARG(reset, NULL, "reset", cmd_ec_reset, 1, 0),
	SHELL_SUBCMD_SET_END);
/* clang-format on */

SHELL_CMD_REGISTER(ec, &ec_cmds, "EC control commands", NULL);

static void ec_cb(uint16_t index, uint16_t value, const uint8_t *buf,
		  size_t size)
{
	switch (index) {
	case USB_REQ_EC_RESET:
		LOG_INF("usb ec reset");
		ec_reset();
		break;
	case USB_REQ_POWER:
		LOG_INF("usb ec power %d", value);
		ec_power(value);
		break;
	}
}

USB_REQUEST_CALLBACK_DEFINE(ec_cb, NULL);

static int ec_init(void)
{
	int ret;

	ret = gpio_pin_configure_dt(&ec_rst_gpio, GPIO_OUTPUT_INACTIVE);
	if (ret < 0) {
		LOG_ERR("gpio configuration failed: %d", ret);
		return ret;
	}

	return 0;
}

SYS_INIT(ec_init, APPLICATION, 99);
```

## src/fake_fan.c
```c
/* Copyright 2026 The ChromiumOS Authors
 * Use of this source code is governed by a BSD-style license that can be
 * found in the LICENSE file.
 */

#include "usb_request.h"

#include <zephyr/device.h>
#include <zephyr/drivers/pwm.h>
#include <zephyr/kernel.h>
#include <zephyr/logging/log.h>
#include <zephyr/shell/shell.h>
#include <zephyr/sys/util.h>

LOG_MODULE_REGISTER(fake_fan, LOG_LEVEL_INF);

#define DT_DRV_COMPAT cros_fake_fan

static const struct pwm_dt_spec pwm_in = PWM_DT_SPEC_INST_GET_BY_IDX(0, 0);
static const struct pwm_dt_spec tach_out = PWM_DT_SPEC_INST_GET_BY_IDX(0, 1);

static int fake_fan_get_pwm(uint32_t *freq, uint32_t *dc)
{
	uint64_t period_ns;
	uint64_t width_ns;
	int ret;

	ret = pwm_capture_nsec(pwm_in.dev, pwm_in.channel,
			       PWM_CAPTURE_TYPE_BOTH | PWM_CAPTURE_MODE_SINGLE,
			       &period_ns, &width_ns, K_MSEC(500));
	if (ret < 0) {
		return ret;
	}

	if (period_ns == 0) {
		return -EINVAL;
	}

	*freq = NSEC_PER_SEC / period_ns;
	*dc = DIV_ROUND_CLOSEST(width_ns * 100, period_ns);

	return 0;
}

static int fake_fan_set_tach(uint32_t rpm)
{
	LOG_INF("set tach: %d rpm", rpm);

	if (rpm == 0) {
		return pwm_set_dt(&tach_out, 0, 0);
	}

	uint32_t period = (uint64_t)NSEC_PER_SEC / rpm * 60 / 2;
	return pwm_set_dt(&tach_out, period, period / 2);
}

static int cmd_get_pwm(const struct shell *sh, size_t argc, char **argv)
{
	uint32_t freq;
	uint32_t dc;
	int ret;

	ret = fake_fan_get_pwm(&freq, &dc);
	if (ret < 0) {
		shell_error(sh, "pwm_capture_nsec error, ret: %d", ret);
		return ret;
	}

	shell_print(sh, "fan pwm: %d Hz %d %%", freq, dc);

	return 0;
}

static int cmd_set_tach(const struct shell *sh, size_t argc, char **argv)
{
	int err = 0;
	int rpm;

	rpm = shell_strtoul(argv[1], 0, &err);
	if (err) {
		shell_error(sh, "Invalid argument: %s", argv[1]);
		return err;
	}

	return fake_fan_set_tach(rpm);
}

/* clang-format off */
SHELL_STATIC_SUBCMD_SET_CREATE(fan_cmds,
        SHELL_CMD_ARG(get_pwm, NULL, "get_pwm", cmd_get_pwm, 1, 0),
        SHELL_CMD_ARG(set_tach, NULL, SHELL_HELP("set_tach", "rpm"),
		      cmd_set_tach, 2, 0),
        SHELL_SUBCMD_SET_END);
/* clang-format on */

SHELL_CMD_REGISTER(fan, &fan_cmds, "Fan commands", NULL);

static void fake_fan_to_dev(uint16_t index, uint16_t value, const uint8_t *buf,
			    size_t size)
{
	if (index != USB_REQ_FAN_SET_TACH) {
		return;
	}

	fake_fan_set_tach(value);
}

static int fake_fan_to_host(uint16_t index, uint16_t value, uint8_t *buf,
			    size_t size)
{
	struct usb_fan_pwm *data = (struct usb_fan_pwm *)buf;
	int ret;

	if (index != USB_REQ_FAN_GET_PWM) {
		return 0;
	}

	if (size < sizeof(*data)) {
		return -ENOMEM;
	}

	ret = fake_fan_get_pwm(&data->frequency, &data->duty_cycle);
	if (ret < 0) {
		return ret;
	}

	return sizeof(*data);
}

USB_REQUEST_CALLBACK_DEFINE(fake_fan_to_dev, fake_fan_to_host);
```

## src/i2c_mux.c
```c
/* Copyright 2025 The ChromiumOS Authors
 * Use of this source code is governed by a BSD-style license that can be
 * found in the LICENSE file.
 */

#include "usb_request.h"

#include <zephyr/device.h>
#include <zephyr/drivers/gpio.h>
#include <zephyr/kernel.h>
#include <zephyr/logging/log.h>
#include <zephyr/shell/shell.h>
#include <zephyr/sys/util.h>

#define DT_DRV_COMPAT cros_i2c_mux

LOG_MODULE_REGISTER(i2c_mux, LOG_LEVEL_INF);

struct i2c_mux_config {
	const struct gpio_dt_spec en_gpio;
	const struct gpio_dt_spec *a_gpio;
	uint8_t a_gpio_count;
	uint8_t port_count;
};

static int i2c_mux_select(const struct device *dev, uint8_t port)
{
	const struct i2c_mux_config *cfg;
	int ret;

	if (dev == NULL) {
		return -ENODEV;
	}

	LOG_INF("set %s: %d", dev->name, port);

	cfg = dev->config;

	if (port >= cfg->port_count) {
		return -EINVAL;
	}

	for (uint8_t i = 0; i < cfg->a_gpio_count; i++) {
		const struct gpio_dt_spec *gpio = &cfg->a_gpio[i];
		uint8_t val = IS_BIT_SET(port, i) != 0 ? 1 : 0;

		ret = gpio_pin_set_dt(gpio, val);
		if (ret < 0) {
			LOG_ERR("gpio set failed: %d", ret);
			return ret;
		}
	}

	return 0;
}

static const struct i2c_mux_api {
	/* empty, just for use in shell_device_filter */
} i2c_mux_api;

static bool i2c_mux_device_filter(const struct device *dev)
{
	return dev->api == &i2c_mux_api;
}

static void device_name_get(size_t idx, struct shell_static_entry *entry)
{
	const struct device *dev =
		shell_device_filter(idx, i2c_mux_device_filter);

	entry->syntax = (dev != NULL) ? dev->name : NULL;
	entry->handler = NULL;
	entry->help = NULL;
	entry->subcmd = NULL;
}

SHELL_DYNAMIC_CMD_CREATE(dsub_device_name, device_name_get);

static int cmd_i2c_mux(const struct shell *sh, size_t argc, char **argv)
{
	const struct device *dev;
	int err = 0;
	int port;

	dev = device_get_binding(argv[1]);
	if (dev == NULL) {
		shell_error(sh, "Device %s not available", argv[1]);
		return -ENODEV;
	}

	port = shell_strtol(argv[2], 0, &err);
	if (err) {
		shell_error(sh, "Invalid argument: %s", argv[2]);
		return err;
	}

	err = i2c_mux_select(dev, port);
	if (err < 0) {
		shell_error(sh, "i2c_mux_select error: %d", err);
		return err;
	}

	return 0;
}

SHELL_CMD_ARG_REGISTER(i2c_mux, &dsub_device_name, "I2C multiplexer control",
		       cmd_i2c_mux, 3, 0);

static int i2c_mux_init(const struct device *dev)
{
	const struct i2c_mux_config *cfg = dev->config;
	int ret;

	ret = gpio_pin_configure_dt(&cfg->en_gpio, GPIO_OUTPUT_ACTIVE);
	if (ret < 0) {
		LOG_ERR("gpio configuration failed: %d", ret);
		return ret;
	}

	for (uint8_t i = 0; i < cfg->a_gpio_count; i++) {
		const struct gpio_dt_spec *gpio = &cfg->a_gpio[i];

		ret = gpio_pin_configure_dt(gpio, GPIO_OUTPUT_INACTIVE);
		if (ret < 0) {
			LOG_ERR("gpio configuration failed: %d", ret);
			return ret;
		}
	}

	return 0;
}

#define I2C_MUX_INIT(n)                                                      \
	const struct gpio_dt_spec i2c_mux_a_gpio_##n[] = {                   \
		DT_INST_FOREACH_PROP_ELEM_SEP(n, a_gpios,                    \
					      GPIO_DT_SPEC_GET_BY_IDX, (, )) \
	};                                                                   \
                                                                             \
	static const struct i2c_mux_config i2c_mux_cfg_##n = {               \
		.en_gpio = GPIO_DT_SPEC_INST_GET(n, en_gpios),               \
		.a_gpio = i2c_mux_a_gpio_##n,                                \
		.a_gpio_count = ARRAY_SIZE(i2c_mux_a_gpio_##n),              \
		.port_count = DT_INST_PROP(n, port_count),                   \
	};                                                                   \
                                                                             \
	DEVICE_DT_INST_DEFINE(n, i2c_mux_init, NULL, NULL, &i2c_mux_cfg_##n, \
			      POST_KERNEL, CONFIG_I2C_INIT_PRIORITY,         \
			      &i2c_mux_api);

DT_INST_FOREACH_STATUS_OKAY(I2C_MUX_INIT)

static const struct device *const mux_a =
	DEVICE_DT_GET(DT_NODELABEL(i2c_mux_a));
static const struct device *const mux_b =
	DEVICE_DT_GET(DT_NODELABEL(i2c_mux_b));

static void i2c_mux_to_dev(uint16_t index, uint16_t value, const uint8_t *buf,
			   size_t size)
{
	switch (index) {
	case USB_REQ_I2C_MUX_A:
		i2c_mux_select(mux_a, value);
		break;
	case USB_REQ_I2C_MUX_B:
		i2c_mux_select(mux_b, value);
		break;
	}
}

USB_REQUEST_CALLBACK_DEFINE(i2c_mux_to_dev, NULL);
```

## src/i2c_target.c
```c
/* Copyright 2025 The ChromiumOS Authors
 * Use of this source code is governed by a BSD-style license that can be
 * found in the LICENSE file.
 */

#include <zephyr/device.h>
#include <zephyr/drivers/i2c.h>
#include <zephyr/kernel.h>
#include <zephyr/logging/log.h>
#include <zephyr/shell/shell.h>

#include <dagwood/i2c_target.h>

#define DT_DRV_COMPAT cros_i2c_target_memory

LOG_MODULE_REGISTER(dagwood_i2c_target, LOG_LEVEL_INF);

#define I2C_STRETCH_50MS_US (50 * USEC_PER_MSEC)
#define I2C_STRETCH_100MS_US (100 * USEC_PER_MSEC)
#define I2C_STRETCH_500MS_US (500 * USEC_PER_MSEC)

/* clang-format off */
const struct device *cros_i2c_target_memory_devs[] = {
	DT_FOREACH_STATUS_OKAY(cros_i2c_target_memory, DEVICE_DT_GET_COMMA)
};
/* clang-format on */

struct i2c_target_memory_config {
	struct i2c_dt_spec bus;
	uint32_t buffer_size;
};

struct i2c_target_memory_data {
	struct i2c_target_config config;
	const struct device *dev;
	uint32_t buffer_idx;
	uint32_t idx_write_cnt;
	uint8_t *buffer;
};

static int i2c_target_memory_write_requested(struct i2c_target_config *config)
{
	struct i2c_target_memory_data *data =
		CONTAINER_OF(config, struct i2c_target_memory_data, config);

	data->idx_write_cnt = 0;
	return 0;
}

static int i2c_target_memory_write_received(struct i2c_target_config *config,
					    uint8_t val)
{
	struct i2c_target_memory_data *data =
		CONTAINER_OF(config, struct i2c_target_memory_data, config);
	const struct i2c_target_memory_config *cfg = data->dev->config;

	if (data->idx_write_cnt == 0) {
		data->buffer_idx = val % cfg->buffer_size;
		data->idx_write_cnt++;
	} else {
		data->buffer[data->buffer_idx] = val;
		data->buffer_idx = (data->buffer_idx + 1) % cfg->buffer_size;
		data->idx_write_cnt++;
	}

	return 0;
}

static int i2c_target_memory_read_requested(struct i2c_target_config *config,
					    uint8_t *val)
{
	struct i2c_target_memory_data *data =
		CONTAINER_OF(config, struct i2c_target_memory_data, config);

	/* Note - the I2C target callbacks run in ISR context.
	 * Use k_busy_wait() to perform I2C clock stretching at
	 * specific register offsets.  The I2C bus used for target mode
	 * should lower it's interrupt priority below the EC UART channel
	 * so that EC console output is not dropped.
	 */
	if (data->buffer_idx == I2C_STRETCH_50MS_OFFSET) {
		k_busy_wait(I2C_STRETCH_50MS_US);
	} else if (data->buffer_idx == I2C_STRETCH_100MS_OFFSET) {
		k_busy_wait(I2C_STRETCH_100MS_US);
	} else if (data->buffer_idx == I2C_STRETCH_500MS_OFFSET) {
		k_busy_wait(I2C_STRETCH_500MS_US);
	}

	*val = data->buffer[data->buffer_idx];
	return 0;
}

static int i2c_target_memory_read_processed(struct i2c_target_config *config,
					    uint8_t *val)
{
	struct i2c_target_memory_data *data =
		CONTAINER_OF(config, struct i2c_target_memory_data, config);
	const struct i2c_target_memory_config *cfg = data->dev->config;

	data->buffer_idx = (data->buffer_idx + 1) % cfg->buffer_size;
	*val = data->buffer[data->buffer_idx];
	return 0;
}

static int i2c_target_memory_stop(struct i2c_target_config *config)
{
	struct i2c_target_memory_data *data =
		CONTAINER_OF(config, struct i2c_target_memory_data, config);

	data->idx_write_cnt = 0;
	return 0;
}

static const struct i2c_target_callbacks i2c_target_memory_callbacks = {
	.write_requested = i2c_target_memory_write_requested,
	.read_requested = i2c_target_memory_read_requested,
	.write_received = i2c_target_memory_write_received,
	.read_processed = i2c_target_memory_read_processed,
	.stop = i2c_target_memory_stop,
};

static int i2c_target_memory_register(const struct device *dev)
{
	const struct i2c_target_memory_config *cfg = dev->config;
	struct i2c_target_memory_data *data = dev->data;

	return i2c_target_register(cfg->bus.bus, &data->config);
}

static int i2c_target_memory_unregister(const struct device *dev)
{
	const struct i2c_target_memory_config *cfg = dev->config;
	struct i2c_target_memory_data *data = dev->data;

	return i2c_target_unregister(cfg->bus.bus, &data->config);
}

static DEVICE_API(i2c_target, i2c_target_memory_api) = {
	.driver_register = i2c_target_memory_register,
	.driver_unregister = i2c_target_memory_unregister,
};

static int i2c_target_memory_init(const struct device *dev)
{
	const struct i2c_target_memory_config *cfg = dev->config;
	struct i2c_target_memory_data *data = dev->data;
	int ret;

	if (!i2c_is_ready_dt(&cfg->bus)) {
		LOG_ERR("I2C bus %s not ready", cfg->bus.bus->name);
		return -ENODEV;
	}

	data->dev = dev;
	data->config.address = cfg->bus.addr;
	data->config.callbacks = &i2c_target_memory_callbacks;

	ret = i2c_target_register(cfg->bus.bus, &data->config);
	if (ret < 0) {
		LOG_ERR("Failed to register I2C target: %d", ret);
		return ret;
	}

	LOG_INF("I2C target memory device registered on %s:0x%02x (size %u)",
		cfg->bus.bus->name, cfg->bus.addr, cfg->buffer_size);
	return 0;
}

static int reset_target_device(const struct device *dev)
{
	const struct i2c_target_memory_config *cfg = dev->config;
	struct i2c_target_memory_data *data = dev->data;
	int ret;

	ret = i2c_target_unregister(cfg->bus.bus, &data->config);
	if (ret < 0) {
		LOG_WRN("i2c_target_unregister failed: %d", ret);
	}

	data->buffer_idx = 0;
	data->idx_write_cnt = 0;
	memset(data->buffer, 0, cfg->buffer_size);

	ret = i2c_target_register(cfg->bus.bus, &data->config);
	if (ret < 0) {
		LOG_ERR("i2c_target_register failed: %d", ret);
		return ret;
	}

	return 0;
}

static int cmd_i2c_target_reset(const struct shell *sh, size_t argc,
				char **argv)
{
	if (argc > 1) {
		const struct device *dev = device_get_binding(argv[1]);

		if (dev == NULL) {
			shell_error(sh, "Device %s not found", argv[1]);
			return -ENODEV;
		}

		if (reset_target_device(dev) < 0) {
			shell_error(sh, "Failed to reset %s", argv[1]);
			return -EIO;
		}

		shell_print(sh, "Reset %s successfully", dev->name);
		return 0;
	}

	for (uint8_t i = 0; i < ARRAY_SIZE(cros_i2c_target_memory_devs); i++) {
		const struct device *dev = cros_i2c_target_memory_devs[i];
		if (device_is_ready(dev)) {
			if (reset_target_device(dev) == 0) {
				shell_print(sh, "Reset %s successfully",
					    dev->name);
			} else {
				shell_error(sh, "Failed to reset %s",
					    dev->name);
			}
		}
	}

	return 0;
}

SHELL_STATIC_SUBCMD_SET_CREATE(
	i2c_target_cmds,
	SHELL_CMD_ARG(reset, NULL, "reset [device] - Reset I2C target state",
		      cmd_i2c_target_reset, 1, 1),
	SHELL_SUBCMD_SET_END);

SHELL_CMD_REGISTER(i2c_target, &i2c_target_cmds, "I2C target commands", NULL);

#define I2C_TARGET_MEMORY_INIT(inst)                                           \
	static uint8_t i2c_target_memory_buffer_##inst[DT_INST_PROP_OR(        \
		inst, size, 256)];                                             \
	static struct i2c_target_memory_data i2c_target_memory_data_##inst = { \
		.buffer = i2c_target_memory_buffer_##inst,                     \
	};                                                                     \
	static const struct i2c_target_memory_config                           \
		i2c_target_memory_config_##inst = {                            \
			.bus = I2C_DT_SPEC_INST_GET(inst),                     \
			.buffer_size = DT_INST_PROP_OR(inst, size, 256),       \
		};                                                             \
	DEVICE_DT_INST_DEFINE(inst, &i2c_target_memory_init, NULL,             \
			      &i2c_target_memory_data_##inst,                  \
			      &i2c_target_memory_config_##inst, POST_KERNEL,   \
			      CONFIG_I2C_TARGET_INIT_PRIORITY,                 \
			      &i2c_target_memory_api);

DT_INST_FOREACH_STATUS_OKAY(I2C_TARGET_MEMORY_INIT)
```

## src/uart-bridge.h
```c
/* Copyright 2025 The ChromiumOS Authors
 * Use of this source code is governed by a BSD-style license that can be
 * found in the LICENSE file.
 */

#include <zephyr/device.h>

/**
 * @brief Update the hardware port settings on an uart bridge
 *
 * If dev is part bridge_dev, then the dev uart configuration are applied to
 * the other device in the uart bridge. This allows propagating the settings
 * from a USB CDC-ACM port to a hardware UART.
 *
 * If dev is not part of bridge_dev then the function is a no-op.
 */
void uart_bridge_settings_update(const struct device *dev,
				 const struct device *bridge_dev);
```

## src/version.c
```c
/* Copyright 2026 The ChromiumOS Authors
 * Use of this source code is governed by a BSD-style license that can be
 * found in the LICENSE file.
 */

#include "usb_request.h"

#include <string.h>

#include <zephyr/kernel.h>
#include <zephyr/shell/shell.h>
#include <zephyr/sys/minmax.h>
#include <zephyr/sys/util.h>

#include <dagwood/version.h>

static int cmd_version(const struct shell *sh, size_t argc, char **argv)
{
	shell_print(sh, "%s", DW_VERSION);
	return 0;
}

SHELL_CMD_REGISTER(version, NULL, "Print firmware version", cmd_version);

static int version_to_host(uint16_t index, uint16_t value, uint8_t *buf,
			   size_t size)
{
	size_t len;

	if (index != USB_REQ_VERSION) {
		return 0;
	}

	len = min(strlen(DW_VERSION), size);
	memcpy(buf, DW_VERSION, len);

	return len;
}

USB_REQUEST_CALLBACK_DEFINE(NULL, version_to_host);
```
